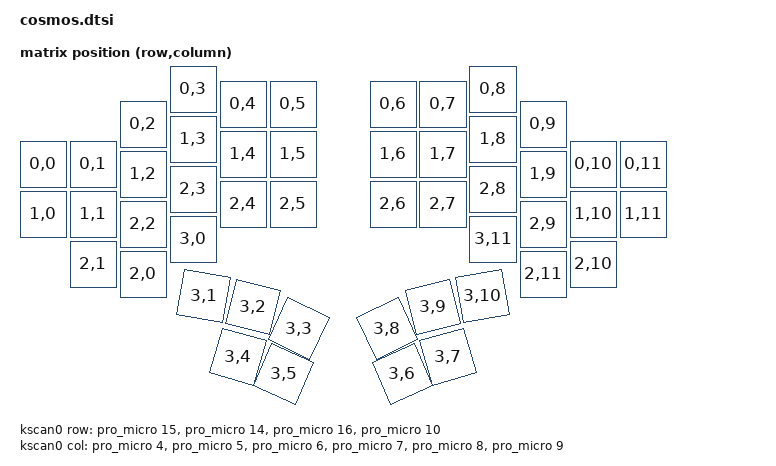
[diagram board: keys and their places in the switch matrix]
#include <dt-bindings/zmk/matrix_transform.h> // Put this with the other includes at the top of your dtsi
#include <physical_layouts.dtsi>

/ {
    default_layout: default_layout {
        compatible = "zmk,physical-layout";
        display-name = "Default Layout";
        transform = <&default_transform>;
        kscan = <&kscan0>;

        keys  //                     w   h    x    y     rot    rx    ry
        //	Row	1		X	Y	Rot	Xrot	Yrot	
        =	<&key_physical_attrs	100	100	0	150	0	0	0>	0
        ,	<&key_physical_attrs	100	100	100	150	0	0	0>	1
        ,	<&key_physical_attrs	100	100	200	70	0	0	0>	2
        ,	<&key_physical_attrs	100	100	300	0	0	0	0>	3
        ,	<&key_physical_attrs	100	100	400	30	0	0	0>	4
        ,	<&key_physical_attrs	100	100	500	30	0	0	0>	5
        ,	<&key_physical_attrs	100	100	700	30	0	0	0>	6
        ,	<&key_physical_attrs	100	100	800	30	0	0	0>	7
        ,	<&key_physical_attrs	100	100	900	0	0	0	0>	8
        ,	<&key_physical_attrs	100	100	1000	70	0	0	0>	9
        ,	<&key_physical_attrs	100	100	1100	150	0	0	0>	10
        ,	<&key_physical_attrs	100	100	1200	150	0	0	0>	11
        									
        //	Row	2							
        ,	<&key_physical_attrs	100	100	0	250	0	0	0>	12
        ,	<&key_physical_attrs	100	100	100	250	0	0	0>	13
        ,	<&key_physical_attrs	100	100	200	170	0	0	0>	14
        ,	<&key_physical_attrs	100	100	300	100	0	0	0>	15
        ,	<&key_physical_attrs	100	100	400	130	0	0	0>	16
        ,	<&key_physical_attrs	100	100	500	130	0	0	0>	17
        ,	<&key_physical_attrs	100	100	700	130	0	0	0>	18
        ,	<&key_physical_attrs	100	100	800	130	0	0	0>	19
        ,	<&key_physical_attrs	100	100	900	100	0	0	0>	20
        ,	<&key_physical_attrs	100	100	1000	170	0	0	0>	21
        ,	<&key_physical_attrs	100	100	1100	250	0	0	0>	22
        ,	<&key_physical_attrs	100	100	1200	250	0	0	0>	23
        									
        //	Row	3							
        ,	<&key_physical_attrs	100	100	100	350	0	0	0>	25
        ,	<&key_physical_attrs	100	100	200	270	0	0	0>	26
        ,	<&key_physical_attrs	100	100	300	200	0	0	0>	27
        ,	<&key_physical_attrs	100	100	400	230	0	0	0>	28
        ,	<&key_physical_attrs	100	100	500	230	0	0	0>	29
        ,	<&key_physical_attrs	100	100	700	230	0	0	0>	30
        ,	<&key_physical_attrs	100	100	800	230	0	0	0>	31
        ,	<&key_physical_attrs	100	100	900	200	0	0	0>	32
        ,	<&key_physical_attrs	100	100	1000	270	0	0	0>	33
        ,	<&key_physical_attrs	100	100	1100	350	0	0	0>	34
        ,	<&key_physical_attrs	100	100	200	370	0	0	0>	24
        ,	<&key_physical_attrs	100	100	300	300	0	0	0>	36
        									
        //	Row	4							
        ,	<&key_physical_attrs	100	100	900	300	0	0	0>	47
        ,	<&key_physical_attrs	100	100	1000	370	0	0	0>	35
        ,	<&key_physical_attrs	100	100	340	400	1000	300	350>	37
        ,	<&key_physical_attrs	100	100	430	410	1400	370	432>	38
        ,	<&key_physical_attrs	100	100	540	430	2500	465	440>	39
        ,	<&key_physical_attrs	100	100	660	430	(-2500)	835	440>	44
        ,	<&key_physical_attrs	100	100	770	410	(-1400)	930	432>	45
        ,	<&key_physical_attrs	100	100	860	400	(-1000)	1000	350>	46
        ,	<&key_physical_attrs	100	100	430	510	1600	370	432>	40
        ,	<&key_physical_attrs	100	100	550	520	2400	448	433>	41
        ,	<&key_physical_attrs	100	100	650	520	(-2400)	852	433>	42
        ,	<&key_physical_attrs	100	100	770	510	(-1600)	930	432>	43
        ;									
    };
};

/ {
    chosen {
        zmk,physical-layout = &default_layout ;
        // Other chosen items
    };
};


/ {
    default_transform: keymap_transform0 {
        compatible = "zmk,matrix-transform";
        columns = <12>;
        rows = <4>;
        map = <
            RC(0,0) RC(0,1) RC(0,2) RC(0,3) RC(0,4) RC(0,5)                 RC(0,6) RC(0,7) RC(0,8)  RC(0,9)  RC(0,10) RC(0,11)
            RC(1,0) RC(1,1) RC(1,2) RC(1,3) RC(1,4) RC(1,5)                 RC(1,6) RC(1,7) RC(1,8)  RC(1,9)  RC(1,10) RC(1,11)
                    RC(2,1) RC(2,2) RC(2,3) RC(2,4) RC(2,5)                 RC(2,6) RC(2,7) RC(2,8)  RC(2,9)  RC(2,10) 
                            RC(2,0) RC(3,0)                                                 RC(3,11) RC(2,11)
                                    RC(3,1) RC(3,2) RC(3,3)                 RC(3,8) RC(3,9) RC(3,10)  
                                            RC(3,4) RC(3,5)                 RC(3,6) RC(3,7)
                                                                        
        >;
    };
};

/ {
    kscan0: kscan0 {
        compatible = "zmk,kscan-gpio-matrix";
        diode-direction = "col2row";
        wakeup-source;

        row-gpios = <&pro_micro 15 (GPIO_ACTIVE_HIGH | GPIO_PULL_DOWN)>,
                    <&pro_micro 14 (GPIO_ACTIVE_HIGH | GPIO_PULL_DOWN)>,
                    <&pro_micro 16 (GPIO_ACTIVE_HIGH | GPIO_PULL_DOWN)>,
                    <&pro_micro 10 (GPIO_ACTIVE_HIGH | GPIO_PULL_DOWN)>;

        col-gpios = <&pro_micro 4 GPIO_ACTIVE_HIGH>,
                <&pro_micro 5 GPIO_ACTIVE_HIGH>,
                <&pro_micro 6 GPIO_ACTIVE_HIGH>,
                <&pro_micro 7 GPIO_ACTIVE_HIGH>,
                <&pro_micro 8 GPIO_ACTIVE_HIGH>,
                <&pro_micro 9 GPIO_ACTIVE_HIGH>;     

    }; 
};
